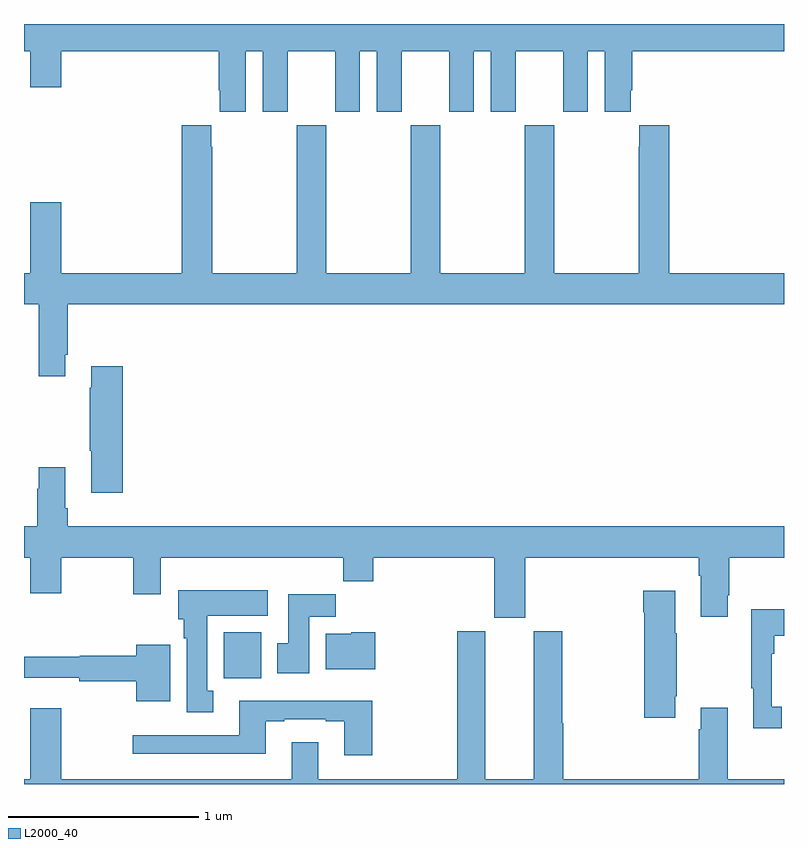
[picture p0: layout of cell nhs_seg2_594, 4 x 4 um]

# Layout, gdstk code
import gdstk
lib = gdstk.Library(unit=1e-6, precision=1e-09)
def R(c, l, rs):  # rectangles x0, y0, x1, y1
    for r in rs: c.add(gdstk.rectangle(r[:2], r[2:], *l))
def P(c, l, *ps):  # polygons
    for p in ps: c.add(gdstk.Polygon(p, *l))
L2000_40 = (2000, 40)

nhs_seg2_594 = lib.new_cell('nhs_seg2_594')
R(nhs_seg2_594, L2000_40, [(142.052,624.356,142.249,624.598)])
P(nhs_seg2_594, L2000_40, [(142.168,627.656),(142.256,627.656),(142.256,627.339),(142.387,627.339),(142.387,627.656),(142.637,627.656),(142.637,627.339),(142.768,627.339),(142.768,627.656),(142.856,627.656),(142.856,627.339),(142.987,627.339),(142.987,627.656),(143.237,627.656),(143.237,627.339),(143.368,627.339),(143.368,627.656),(143.456,627.656),(143.456,627.339),(143.587,627.339),(143.587,627.656),(143.837,627.656),(143.837,627.339),(143.968,627.339),(143.968,627.656),(144.056,627.656),(144.056,627.339),(144.193,627.339),(144.193,627.451),(144.2,627.451),(144.2,627.656),(145,627.656),(145,627.8),(141,627.8),(141,627.656),(141.032,627.656),(141.032,627.468),(141.196,627.468),(141.196,627.656),(142.025,627.656),(142.025,627.451),(142.031,627.451),(142.031,627.339),(142.168,627.339)],
  [(141.217,626.059),(141.23,626.059),(141.23,626.324),(145,626.324),(145,626.488),(144.395,626.488),(144.395,627.268),(144.239,627.268),(144.239,627.155),(144.235,627.155),(144.235,626.488),(143.79,626.488),(143.79,627.268),(143.635,627.268),(143.635,626.488),(143.19,626.488),(143.19,627.268),(143.035,627.268),(143.035,626.488),(142.59,626.488),(142.59,627.268),(142.435,627.268),(142.435,626.488),(141.99,626.488),(141.99,627.155),(141.985,627.155),(141.985,627.268),(141.83,627.268),(141.83,626.488),(141.196,626.488),(141.196,626.863),(141.032,626.863),(141.032,626.488),(141,626.488),(141,626.324),(141.077,626.324),(141.077,625.947),(141.217,625.947)],
  [(141.521,625.999),(141.353,625.999),(141.353,625.886),(141.346,625.886),(141.346,625.555),(141.353,625.555),(141.353,625.332),(141.521,625.332)],
  [(143.638,624.992),(144.551,624.992),(144.551,624.896),(144.563,624.896),(144.563,624.681),(144.703,624.681),(144.703,624.793),(144.711,624.793),(144.711,624.992),(145,624.992),(145,625.156),(141.23,625.156),(141.23,625.252),(141.217,625.252),(141.217,625.468),(141.077,625.468),(141.077,625.355),(141.07,625.355),(141.07,625.156),(141,625.156),(141,624.992),(141.032,624.992),(141.032,624.804),(141.196,624.804),(141.196,624.992),(141.574,624.992),(141.574,624.798),(141.721,624.798),(141.721,624.992),(142.681,624.992),(142.681,624.868),(142.838,624.868),(142.838,624.992),(143.474,624.992),(143.474,624.675),(143.638,624.675)],
  [(141.997,624.29),(141.964,624.29),(141.964,624.686),(142.282,624.686),(142.282,624.82),(141.812,624.82),(141.812,624.666),(141.842,624.666),(141.842,624.566),(141.857,624.566),(141.857,624.177),(141.997,624.177)],
  [(144.427,624.262),(144.435,624.262),(144.435,624.593),(144.427,624.593),(144.427,624.817),(144.26,624.817),(144.26,624.704),(144.265,624.704),(144.265,624.15),(144.427,624.15)],
  [(142.501,624.68),(142.64,624.68),(142.64,624.799),(142.391,624.799),(142.391,624.54),(142.334,624.54),(142.334,624.384),(142.501,624.384)],
  [(144.988,624.206),(144.936,624.206),(144.936,624.485),(144.949,624.485),(144.949,624.581),(145,624.581),(145,624.721),(144.828,624.721),(144.828,624.305),(144.839,624.305),(144.839,624.093),(144.988,624.093)],
  [(145,623.824),(144.703,623.824),(144.703,624.202),(144.563,624.202),(144.563,624.089),(144.551,624.089),(144.551,623.824),(143.837,623.824),(143.837,624.12),(143.832,624.12),(143.832,624.603),(143.684,624.603),(143.684,623.824),(143.428,623.824),(143.428,624.603),(143.281,624.603),(143.281,623.824),(142.549,623.824),(142.549,624.019),(142.409,624.019),(142.409,623.824),(141.196,623.824),(141.196,624.199),(141.032,624.199),(141.032,623.824),(141,623.824),(141,623.8),(145,623.8)],
  [(142.848,624.598),(142.722,624.598),(142.722,624.592),(142.589,624.592),(142.589,624.404),(142.848,624.404)],
  [(141.769,624.532),(141.59,624.532),(141.59,624.476),(141.294,624.476),(141.294,624.469),(141,624.469),(141,624.359),(141.292,624.359),(141.292,624.34),(141.59,624.34),(141.59,624.236),(141.769,624.236)],
  [(142.833,624.238),(142.133,624.238),(142.133,624.057),(141.573,624.057),(141.573,623.96),(142.273,623.96),(142.273,624.129),(142.369,624.129),(142.369,624.141),(142.589,624.141),(142.589,624.129),(142.685,624.129),(142.685,623.952),(142.833,623.952)])

lib.write_gds('nhs_seg2_594.gds')
